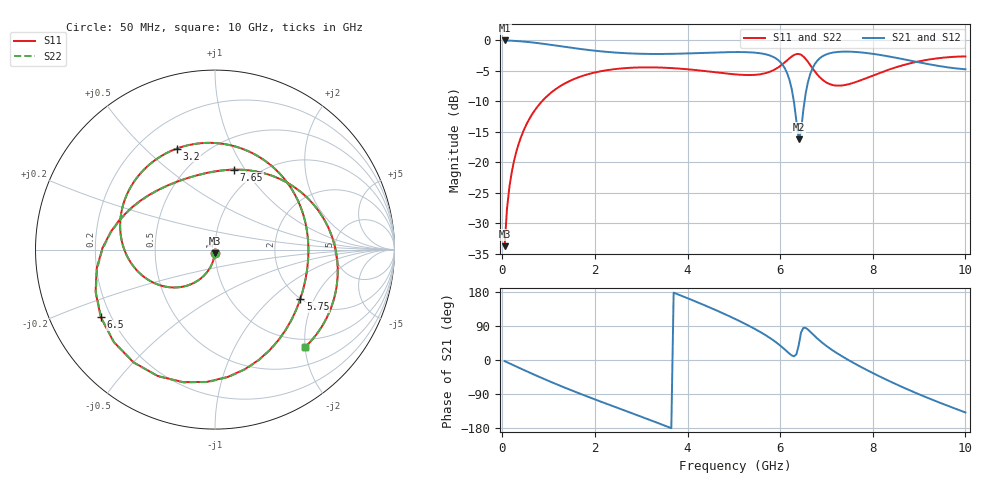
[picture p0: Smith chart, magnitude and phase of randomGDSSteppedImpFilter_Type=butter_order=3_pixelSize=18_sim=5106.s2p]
! freq	dB(S11)	phase(S11)	dB(S12)	phase(S12)
!  dB(S21)	phase(S21)	dB(S22)	phase(S22)
!S-par simulation data
#  GHz  S  DB  R 50
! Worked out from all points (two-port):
!   200 points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, 50 MHz to 10 GHz, reference 50 ohm
!   highest |S21| = 0.00 dB at 50 MHz (marker M1); lowest = -16.2 dB at 6.4 GHz (marker M2)
!   |S21| within 3 dB of the highest: start of sweep to 5.918 GHz; 6.844 GHz to 8.611 GHz (1.766 GHz wide, 22.9 % of centre)
!   lowest |S11| = -33.7 dB at 50 MHz (marker M3), VSWR 1.04, Z = 49.9 - j2.05 ohm
!   |S11| at or under -10 dB: start of sweep to 854.4 MHz
!   |S22| runs from -33.7 to -2.2 dB; largest |S21 - S12| = 0
!   S11 on the Smith chart (normalised r, x): 50 MHz: 1.00, -0.04; 3.2 GHz: 0.36, +0.63; 5.75 GHz: 1.99, -1.57; 6.5 GHz: 0.16, -0.27; 7.65 GHz: 0.79, +0.90; 10 GHz: 0.84, -2.01
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0.05  -33.72 -92.9  -0.00 -2.9  -0.00 -2.9  -33.72 -92.9
0.1  -27.72 -95.9  -0.02 -5.8  -0.02 -5.8  -27.72 -95.9
0.2  -21.76 -101.9  -0.05 -11.5  -0.05 -11.5  -21.76 -101.9
0.5  -14.11 -118.9  -0.21 -28.3  -0.21 -28.3  -14.11 -118.9
1.1  -8.28 -151.0  -0.78 -60.4  -0.78 -60.4  -8.28 -151.0
1.75  -5.77 177.1  -1.46 -92.3  -1.46 -92.3  -5.77 177.1
2.4  -4.73 147.1  -1.97 -122.3  -1.97 -122.3  -4.73 147.1
3.2  -4.41 110.7  -2.22 -158.8  -2.22 -158.8  -4.41 110.8
3.4  -4.44 101.5  -2.22 -168.1  -2.22 -168.1  -4.44 101.5
4.25  -4.91 60.5  -2.07 150.5  -2.07 150.5  -4.91 60.6
5.05  -5.58 17.6  -1.91 107.1  -1.91 107.1  -5.58 17.7
5.75  -5.21 -30.1  -2.40 60.5  -2.40 60.5  -5.21 -29.8
6.1  -3.60 -68.3  -4.55 27.8  -4.55 27.8  -3.60 -68.0
6.25  -2.63 -93.5  -7.98 12.1  -7.98 12.1  -2.63 -93.1
6.4  -2.21 -126.0  -16.19 38.4  -16.19 38.4  -2.21 -125.5
6.5  -2.62 -149.4  -11.45 84.7  -11.45 84.7  -2.62 -148.9
6.7  -4.58 170.5  -4.54 68.7  -4.54 68.7  -4.58 171.0
7.15  -7.34 115.4  -1.98 24.1  -1.98 24.1  -7.34 115.8
7.65  -6.78 76.4  -1.90 -12.1  -1.90 -12.1  -6.78 76.7
8.35  -4.78 33.5  -2.63 -55.2  -2.63 -55.2  -4.78 33.5
9.15  -3.21 -8.2  -3.81 -98.1  -3.81 -98.1  -3.22 -8.3
10  -2.62 -47.1  -4.72 -138.4  -4.72 -138.4  -2.62 -47.1
